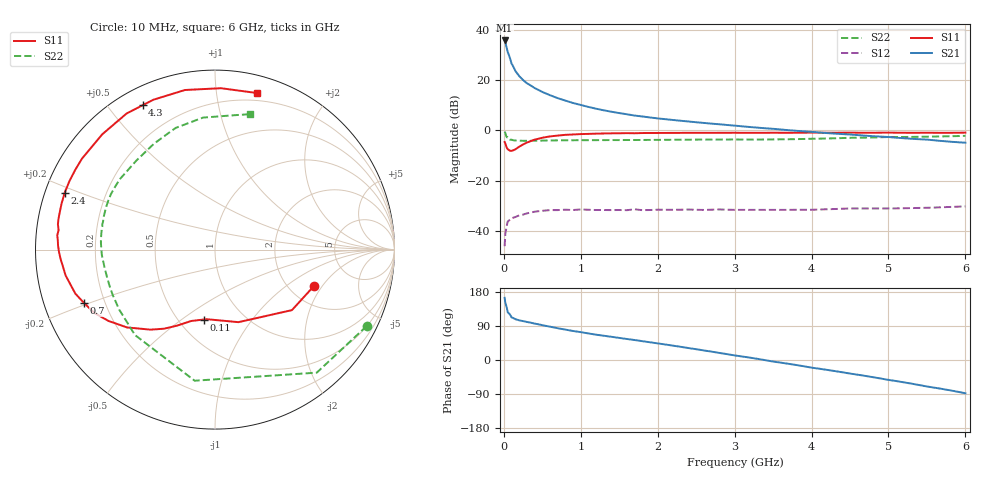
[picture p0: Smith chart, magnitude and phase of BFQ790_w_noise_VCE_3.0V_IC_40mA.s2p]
! Infineon Technologies  Discrete & RF Semiconductors
! BFQ790
! VCE =  3.0 V,  IC =  40 mA
! Common Emitter S-Parameters:  May 2015
# GHz  S  MA  R  50
!  f  S11  S21  S12  S22
! GHz  MAG  ANG  MAG  ANG  MAG  ANG  MAG  ANG
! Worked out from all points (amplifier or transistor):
!   77 points, 10 MHz to 6 GHz, reference 50 ohm
!   highest |S21| = 35.9 dB at 10 MHz (marker M1)
!   |S21| within 3 dB of that: start of sweep to 37.34 MHz
!   unconditionally stable (mu >= 1): 1.661 GHz to end of sweep
!   at 130 MHz: K = 0.68, MSG = 29.9 dB, |S12| = -34.8 dB
!   at 2.2 GHz: K = 1.10, MAG = 16.0 dB, |S12| = -31.7 dB
!   at 6 GHz: K = 1.74, MAG = 7.7 dB, |S12| = -30.3 dB
!   lowest NFmin = 2.18 dB at 900 MHz
!   S11 on the Smith chart (normalised r, x): 10 MHz: 2.72, -1.67; 110 MHz: 0.66, -0.61; 700 MHz: 0.12, -0.19; 2.4 GHz: 0.06, +0.18; 4.3 GHz: 0.07, +0.62; 6 GHz: 0.14, +1.29
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0.01  0.5884 -20.0  62.37 164.0  0.0049 68.8  0.9461 -26.8
0.02  0.5454 -38.2  56.5 150.1  0.0088 60.2  0.8896 -50.4
0.05  0.4248 -72.1  36.86 126.1  0.0152 36.2  0.7392 -98.8
0.1  0.3905 -96.9  21.61 112.4  0.0177 23.0  0.6521 -133.1
0.11  0.3949 -99.3  20.35 111.7  0.0179 22.4  0.6443 -136.0
0.15  0.4195 -108.5  15.34 107.7  0.0187 20.1  0.6298 -147.9
0.2  0.4733 -116.5  12.12 104.7  0.0202 20.6  0.6235 -156.1
0.25  0.5244 -122.8  10.12 102.6  0.0209 18.2  0.6211 -161.4
0.3  0.5723 -128.8  8.741 100.4  0.0221 13.9  0.6208 -165.1
0.4  0.6546 -138.5  7.011 96.1  0.0239 12.2  0.6232 -170.4
0.5  0.7137 -146.1  5.855 91.9  0.0249 8.0  0.6265 -174.1
0.7  0.7884 -157.9  4.404 83.9  0.0257 4.2  0.6326 -179.8
0.9  0.8299 -166.8  3.525 76.6  0.0258 -1.9  0.6367 176.5
1.1  0.8523 -173.6  2.939 70.1  0.0261 -4.3  0.6386 173.4
1.5  0.8773 176.6  2.216 58.3  0.0258 -10.3  0.6407 168.4
2.1  0.8903 165.3  1.674 40.9  0.0261 -16.8  0.649 160.5
2.4  0.8954 159.2  1.507 31.5  0.0264 -20.6  0.6539 155.6
3.1  0.8952 143.3  1.206 9.2  0.026 -29.5  0.6576 140.9
4.1  0.9015 120.9  0.91 -23.0  0.0264 -37.6  0.6849 117.4
4.3  0.8997 116.6  0.864 -29.1  0.027 -39.4  0.6964 112.6
5.1  0.9003 98.2  0.717 -55.6  0.0278 -49.7  0.7386 93.0
6  0.9029 75.1  0.568 -87.8  0.0305 -63.3  0.7785 75.7
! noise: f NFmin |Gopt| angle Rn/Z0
0.45  2.74  0.31  109  0.35
0.9  2.18  0.46  155  0.14
1.5  2.29  0.62  -180  0.07
1.8  2.51  0.66  -173  0.07
2.6  3.27  0.73  -155  0.19
3.5  4.02  0.86  -137  0.55
